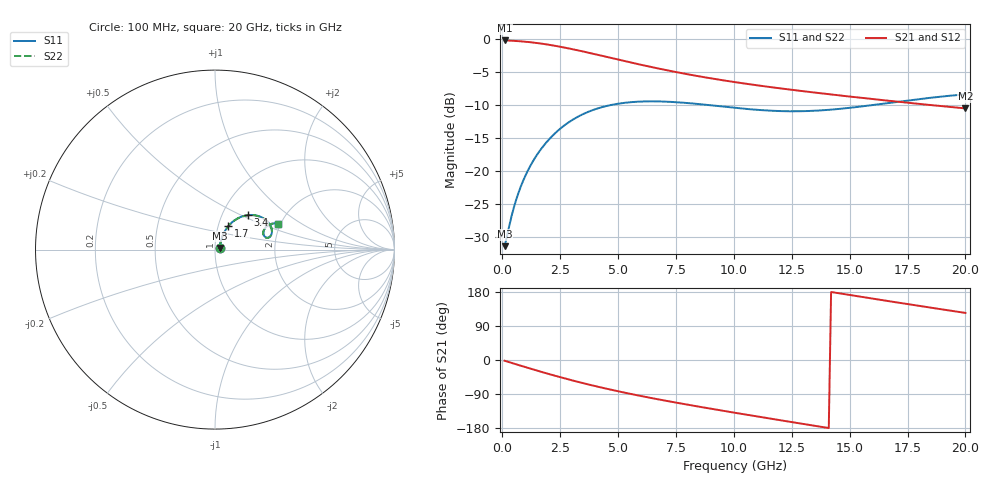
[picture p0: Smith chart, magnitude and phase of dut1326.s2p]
! Touchstone file exported from HFSS 2024.1.0
!  File:  C:/UserFiles/LocalFiles/RDL_TSV_Batchsim/temp_RDL_TSV_1326_1780388314.aedt
!  Generated:  04:35:02 PM Jun  2, 2026
!  Design:  RDL_TSV
!  Project:  temp_RDL_TSV_1326_1780388314
!  Setup:  Setup1
!  Solution:  Sweep
! Variables:
!  dtsv = 5.41um
!  hbump = 3um
!  htsv = 97.61um
!  ldown = 596.85um
!  lrdl = 367.28um
!  p = 40
!  p1 = 48.33um
!  rhole = 10um
!  subl = 3259.67um
!  t = 450um
!  tdown = 3.44um
!  trdl = 3.04um
!  viad = 10um
!  wdown = 12.62um
!  wrdl = 19.33um
!  xbump = 18um
# GHz S MA R 50.000000
! Terminal data exported
! Port[1] = TM1_1_T1
! Port[2] = TM1_4_T1
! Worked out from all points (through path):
!   200 points, 100 MHz to 20 GHz, reference 50 ohm
!   highest |S21| = -0.22 dB at 100 MHz (marker M1); lowest = -10.5 dB at 20 GHz (marker M2)
!   group delay of S21, straight-line fit = 31 ps
!   lowest |S11| = -31.4 dB at 100 MHz (marker M3), VSWR 1.06, Z = 52.6 + j0.957 ohm
!   |S11| at or under -10 dB: start of sweep to 4.687 GHz; 8.904 GHz to 16 GHz (7.097 GHz wide, 57 % of centre)
!   |S22| runs from -31.4 to -8.4 dB; largest |S21 - S12| = 1.3e-14
!   S11 on the Smith chart (normalised r, x): 100 MHz: 1.05, +0.02; 1.7 GHz: 1.12, +0.30; 3.4 GHz: 1.32, +0.55; 20 GHz: 1.95, +0.65
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0.1  0.02702 19.7  0.9745 -1.9  0.9745 -1.9  0.02702 19.7
! Gamma 0 0 0 0
! Port Impedance 50 0 50 0
0.5  0.05307 53.7  0.968 -9.6  0.968 -9.6  0.05308 53.7
0.8  0.07646 59.9  0.96 -15.2  0.96 -15.2  0.07646 59.8
1.2  0.1086 61.9  0.9456 -22.5  0.9456 -22.5  0.1086 61.9
1.7  0.1489 60.5  0.9219 -31.5  0.9219 -31.5  0.1489 60.5
2.1  0.18 57.9  0.899 -38.5  0.899 -38.5  0.1799 57.9
2.5  0.2093 54.7  0.8735 -45.3  0.8735 -45.3  0.2092 54.6
2.9  0.2361 51.1  0.8462 -51.9  0.8462 -51.9  0.2359 51.0
3.4  0.2653 46.4  0.8106 -59.7  0.8106 -59.7  0.265 46.2
3.5  0.2706 45.4  0.8034 -61.3  0.8034 -61.3  0.2702 45.3
4.2  0.3011 38.9  0.7533 -71.6  0.7533 -71.6  0.3006 38.8
5.1  0.3255 31.3  0.6921 -83.8  0.6921 -83.8  0.3249 31.2
5.9  0.3354 25.6  0.6431 -93.9  0.6431 -93.9  0.3347 25.4
6.8  0.3366 20.3  0.5947 -104.6  0.5947 -104.6  0.3357 20.2
8.4  0.3227 14.4  0.5253 -122.2  0.5253 -122.2  0.3216 14.3
10.1  0.3006 12.7  0.4699 -139.8  0.4699 -139.8  0.2994 12.6
11.7  0.2859 14.8  0.4295 -155.9  0.4295 -155.9  0.2846 14.7
13.4  0.2857 19.2  0.3947 -172.7  0.3947 -172.7  0.2844 19.2
15  0.3012 22.9  0.3667 171.6  0.3667 171.6  0.2999 22.9
16.7  0.328 24.7  0.3405 155.2  0.3405 155.2  0.3269 24.7
18.3  0.3556 24.1  0.3186 140.0  0.3186 140.0  0.3546 24.2
20  0.3812 22.0  0.2982 124.3  0.2982 124.3  0.3802 22.0
